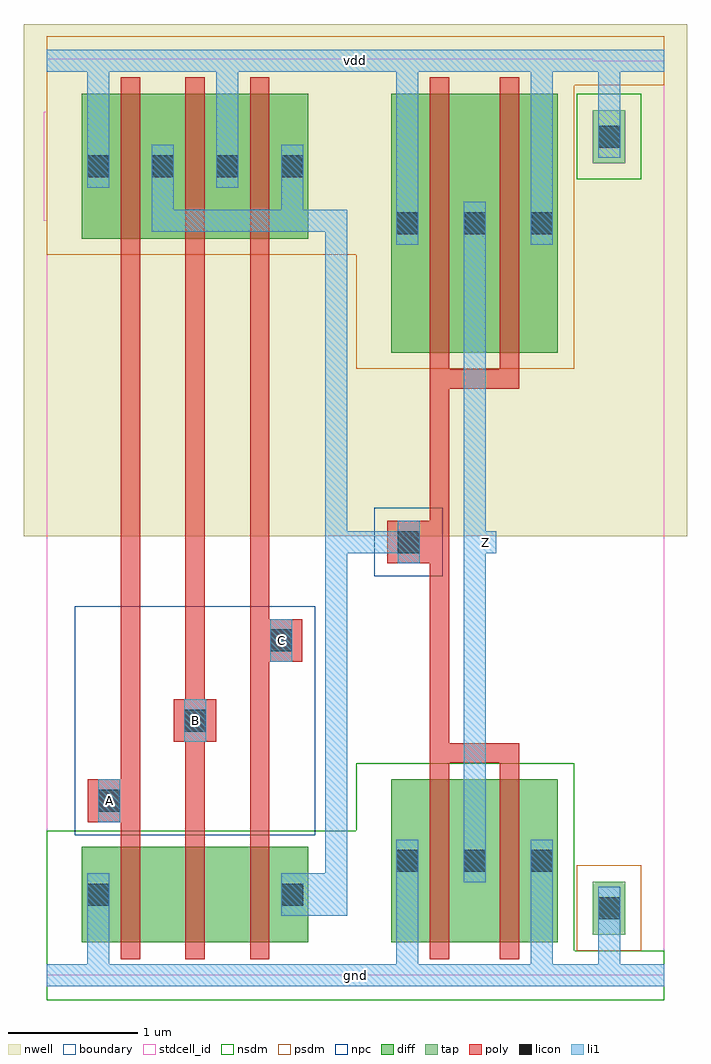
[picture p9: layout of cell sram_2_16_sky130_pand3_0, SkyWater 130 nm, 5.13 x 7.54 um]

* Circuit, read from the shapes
.subckt sram_2_16_sky130_pand3_0 A B C Z gnd vdd
XM1 sram_2_16_sky130_pnand3_0/sram_2_16_sky130_nmos_m1_w0_740_sli_dactive_3/D A gnd gnd sky130_fd_pr__nfet_01v8 w=0.74 l=0.15
XM2 sram_2_16_sky130_pnand3_0/sram_2_16_sky130_nmos_m1_w0_740_sactive_dactive_4/D B sram_2_16_sky130_pnand3_0/sram_2_16_sky130_nmos_m1_w0_740_sli_dactive_3/D gnd sky130_fd_pr__nfet_01v8 w=0.74 l=0.15
XM3 sram_2_16_sky130_pdriver_3_1/A C sram_2_16_sky130_pnand3_0/sram_2_16_sky130_nmos_m1_w0_740_sactive_dactive_4/D gnd sky130_fd_pr__nfet_01v8 w=0.74 l=0.15
XM4 Z sram_2_16_sky130_pdriver_3_1/A gnd gnd sky130_fd_pr__nfet_01v8 w=1.26 l=0.15 m=2
XM5 sram_2_16_sky130_pdriver_3_1/A A vdd vdd sky130_fd_pr__pfet_01v8 w=1.12 l=0.15
XM6 vdd B sram_2_16_sky130_pdriver_3_1/A vdd sky130_fd_pr__pfet_01v8 w=1.12 l=0.15
XM7 sram_2_16_sky130_pdriver_3_1/A C vdd vdd sky130_fd_pr__pfet_01v8 w=1.12 l=0.15
XM8 Z sram_2_16_sky130_pdriver_3_1/A vdd vdd sky130_fd_pr__pfet_01v8 w=2 l=0.15 m=2
.ends

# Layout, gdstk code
import gdstk
lib = gdstk.Library(unit=1e-6, precision=1e-09)
def R(c, l, rs):  # rectangles x0, y0, x1, y1
    for r in rs: c.add(gdstk.rectangle(r[:2], r[2:], *l))
def A(c, l, x, y, w, h, nx, ny, dx, dy):  # array of equal rectangles
    R(c, l, [(x+i*dx, y+j*dy, x+i*dx+w, y+j*dy+h) for i in range(nx) for j in range(ny)])
nwell = (64, 20)
diff = (65, 20)
tap = (65, 44)
poly = (66, 20)
licon = (66, 44)
li1 = (67, 20)
stdcell_id = (81, 4)
nsdm = (93, 44)
psdm = (94, 20)
npc = (95, 20)
boundary = (235, 4)

sram_2_16_sky130_contact = lib.new_cell('sram_2_16_sky130_contact_11')
R(sram_2_16_sky130_contact, nwell, [(-0.295,-0.255,0.545,0.585)])
R(sram_2_16_sky130_contact, diff, [(0,0.02,0.25,0.31)])
R(sram_2_16_sky130_contact, licon, [(0.04,0.08,0.21,0.25)])
R(sram_2_16_sky130_contact, li1, [(0.04,0,0.21,0.33)])
R(sram_2_16_sky130_contact, stdcell_id, [(-0.295,-0.255,0.545,0.585)])
R(sram_2_16_sky130_contact, psdm, [(-0.125,-0.105,0.375,0.435)])
R(sram_2_16_sky130_contact, boundary, [(-0.295,-0.255,0.545,0.585)])

sram_2_16_sky130_pmos_m1 = lib.new_cell('sram_2_16_sky130_pmos_m1_w1_120_sli_dli')
R(sram_2_16_sky130_pmos_m1, nwell, [(-0.27,-0.27,1.02,1.39)])
R(sram_2_16_sky130_pmos_m1, diff, [(0,0,0.75,1.12)])
R(sram_2_16_sky130_pmos_m1, poly, [(0.3,-0.13,0.45,1.25), (0.3,-0.13,0.45,1.25)])
R(sram_2_16_sky130_pmos_m1, li1, [(0.04,0.395,0.21,0.725), (0.54,0.395,0.71,0.725)])
R(sram_2_16_sky130_pmos_m1, stdcell_id, [(-0.27,-0.27,1.02,1.39)])
R(sram_2_16_sky130_pmos_m1, psdm, [(-0.125,-0.125,0.875,1.245)])
R(sram_2_16_sky130_pmos_m1, boundary, [(-0.27,-0.27,1.02,1.39)])
sram_2_16_sky130_pmos_m1.add(gdstk.Reference(sram_2_16_sky130_contact, (0,0.395)))
sram_2_16_sky130_pmos_m1.add(gdstk.Reference(sram_2_16_sky130_contact, (0.5,0.395)))
sram_2_16_sky130_pmos_m1.add(gdstk.Label('G', (0.375,0.56), layer=66, texttype=5))
sram_2_16_sky130_pmos_m1.add(gdstk.Label('S', (0.125,0.56), layer=67, texttype=5))
sram_2_16_sky130_pmos_m1.add(gdstk.Label('D', (0.625,0.56), layer=67, texttype=5))

c_sram_2_16_sky130_contact = lib.new_cell('sram_2_16_sky130_contact_10')
R(c_sram_2_16_sky130_contact, diff, [(0,0.02,0.25,0.31)])
R(c_sram_2_16_sky130_contact, licon, [(0.04,0.08,0.21,0.25)])
R(c_sram_2_16_sky130_contact, li1, [(0.04,0,0.21,0.33)])
R(c_sram_2_16_sky130_contact, stdcell_id, [(-0.125,-0.105,0.375,0.435)])
R(c_sram_2_16_sky130_contact, nsdm, [(-0.125,-0.105,0.375,0.435)])
R(c_sram_2_16_sky130_contact, boundary, [(-0.125,-0.105,0.375,0.435)])

sram_2_16_sky130_nmos_m1 = lib.new_cell('sram_2_16_sky130_nmos_m1_w0_740_sli_dactive')
R(sram_2_16_sky130_nmos_m1, diff, [(0,0,0.75,0.74), (0.55,0.295,0.7,0.445)])
R(sram_2_16_sky130_nmos_m1, poly, [(0.3,-0.13,0.45,0.87), (0.3,-0.13,0.45,0.87)])
R(sram_2_16_sky130_nmos_m1, li1, [(0.04,0.205,0.21,0.535)])
R(sram_2_16_sky130_nmos_m1, stdcell_id, [(-0.125,-0.13,0.875,0.87)])
R(sram_2_16_sky130_nmos_m1, nsdm, [(-0.125,-0.125,0.875,0.865)])
R(sram_2_16_sky130_nmos_m1, boundary, [(-0.125,-0.13,0.875,0.87)])
sram_2_16_sky130_nmos_m1.add(gdstk.Reference(c_sram_2_16_sky130_contact, (0,0.205)))
sram_2_16_sky130_nmos_m1.add(gdstk.Label('G', (0.375,0.37), layer=66, texttype=5))
sram_2_16_sky130_nmos_m1.add(gdstk.Label('S', (0.125,0.37), layer=67, texttype=5))
sram_2_16_sky130_nmos_m1.add(gdstk.Label('D', (0.625,0.37), layer=65, texttype=5))

c_sram_2_16_sky130_nmos_m1 = lib.new_cell('sram_2_16_sky130_nmos_m1_w0_740_sactive_dactive')
R(c_sram_2_16_sky130_nmos_m1, diff, [(0,0,0.75,0.74), (0.05,0.295,0.2,0.445), (0.55,0.295,0.7,0.445)])
R(c_sram_2_16_sky130_nmos_m1, poly, [(0.3,-0.13,0.45,0.87), (0.3,-0.13,0.45,0.87)])
R(c_sram_2_16_sky130_nmos_m1, stdcell_id, [(-0.125,-0.13,0.875,0.87)])
R(c_sram_2_16_sky130_nmos_m1, nsdm, [(-0.125,-0.125,0.875,0.865)])
R(c_sram_2_16_sky130_nmos_m1, boundary, [(-0.125,-0.13,0.875,0.87)])
c_sram_2_16_sky130_nmos_m1.add(gdstk.Label('G', (0.375,0.37), layer=66, texttype=5))
c_sram_2_16_sky130_nmos_m1.add(gdstk.Label('S', (0.125,0.37), layer=65, texttype=5))
c_sram_2_16_sky130_nmos_m1.add(gdstk.Label('D', (0.625,0.37), layer=65, texttype=5))

c_sram_2_16_sky130_nmos_m1_ = lib.new_cell('sram_2_16_sky130_nmos_m1_w0_740_sactive_dli')
R(c_sram_2_16_sky130_nmos_m1_, diff, [(0,0,0.75,0.74), (0.05,0.295,0.2,0.445)])
R(c_sram_2_16_sky130_nmos_m1_, poly, [(0.3,-0.13,0.45,0.87), (0.3,-0.13,0.45,0.87)])
R(c_sram_2_16_sky130_nmos_m1_, li1, [(0.54,0.205,0.71,0.535)])
R(c_sram_2_16_sky130_nmos_m1_, stdcell_id, [(-0.125,-0.13,0.875,0.87)])
R(c_sram_2_16_sky130_nmos_m1_, nsdm, [(-0.125,-0.125,0.875,0.865)])
R(c_sram_2_16_sky130_nmos_m1_, boundary, [(-0.125,-0.13,0.875,0.87)])
c_sram_2_16_sky130_nmos_m1_.add(gdstk.Reference(c_sram_2_16_sky130_contact, (0.5,0.205)))
c_sram_2_16_sky130_nmos_m1_.add(gdstk.Label('G', (0.375,0.37), layer=66, texttype=5))
c_sram_2_16_sky130_nmos_m1_.add(gdstk.Label('S', (0.125,0.37), layer=65, texttype=5))
c_sram_2_16_sky130_nmos_m1_.add(gdstk.Label('D', (0.625,0.37), layer=67, texttype=5))

c_sram_2_16_sky130_contact_ = lib.new_cell('sram_2_16_sky130_contact_15')
R(c_sram_2_16_sky130_contact_, poly, [(0,0,0.33,0.33)])
R(c_sram_2_16_sky130_contact_, licon, [(0.08,0.08,0.25,0.25)])
R(c_sram_2_16_sky130_contact_, li1, [(0.08,0,0.25,0.33)])
R(c_sram_2_16_sky130_contact_, stdcell_id, [(-0.1,-0.1,0.43,0.43)])
R(c_sram_2_16_sky130_contact_, npc, [(-0.1,-0.1,0.43,0.43)])
R(c_sram_2_16_sky130_contact_, boundary, [(-0.1,-0.1,0.43,0.43)])

sram_2_16_sky130_pnand3 = lib.new_cell('sram_2_16_sky130_pnand3')
R(sram_2_16_sky130_pnand3, nwell, [(-0.18,3.395,2.57,7.355)])
A(sram_2_16_sky130_pnand3, poly, 0.57, 1.125, 0.15, 4.44, 3, 1, 0.5, 0)
R(sram_2_16_sky130_pnand3, poly, [(0.48,1.185,0.57,1.515), (1.07,1.805,1.145,2.135), (1.57,2.425,1.81,2.755)])
R(sram_2_16_sky130_pnand3, li1, [(0,-0.085,2.39,0.085), (0.31,-0.085,0.48,0.46), (1.895,0.46,2.235,0.79), (2.15,0.46,2.32,5.835), (0.395,1.185,0.565,1.515), (1.06,1.805,1.23,2.135), (1.725,2.425,1.895,2.755), (0.81,5.75,0.98,5.92), (0.895,5.75,2.235,5.92), (1.81,5.75,1.98,5.92), (1.895,5.75,2.235,5.92), (2.15,5.75,2.32,5.92), (0.81,5.835,0.98,6.255), (1.81,5.835,1.98,6.255), (0.31,6.09,0.48,7.155), (1.31,6.09,1.48,7.155), (0,6.985,2.39,7.155)])
R(sram_2_16_sky130_pnand3, stdcell_id, [(0,0,2.39,7.07), (0,0,2.39,7.07)])
R(sram_2_16_sky130_pnand3, nsdm, [(0,-0.19,2.39,0.19), (0,0,2.39,1.12)])
R(sram_2_16_sky130_pnand3, psdm, [(0,5.57,2.39,7.07), (0,6.88,2.39,7.26)])
R(sram_2_16_sky130_pnand3, npc, [(0.215,1.085,2.075,2.855)])
R(sram_2_16_sky130_pnand3, boundary, [(0,0,2.39,7.07), (0,0,2.39,7.07)])
sram_2_16_sky130_pnand3.add(gdstk.Reference(sram_2_16_sky130_pmos_m1, (0.27,5.695)))
sram_2_16_sky130_pnand3.add(gdstk.Reference(sram_2_16_sky130_pmos_m1, (0.77,5.695)))
sram_2_16_sky130_pnand3.add(gdstk.Reference(sram_2_16_sky130_pmos_m1, (1.27,5.695)))
sram_2_16_sky130_pnand3.add(gdstk.Reference(sram_2_16_sky130_nmos_m1, (0.27,0.255)))
sram_2_16_sky130_pnand3.add(gdstk.Reference(c_sram_2_16_sky130_nmos_m1, (0.77,0.255)))
sram_2_16_sky130_pnand3.add(gdstk.Reference(c_sram_2_16_sky130_nmos_m1_, (1.27,0.255)))
sram_2_16_sky130_pnand3.add(gdstk.Reference(c_sram_2_16_sky130_contact_, (0.315,1.185)))
sram_2_16_sky130_pnand3.add(gdstk.Reference(c_sram_2_16_sky130_contact_, (0.98,1.805)))
sram_2_16_sky130_pnand3.add(gdstk.Reference(c_sram_2_16_sky130_contact_, (1.645,2.425)))
sram_2_16_sky130_pnand3.add(gdstk.Label('A', (0.48,1.35), layer=67, texttype=5))
sram_2_16_sky130_pnand3.add(gdstk.Label('B', (1.145,1.97), layer=67, texttype=5))
sram_2_16_sky130_pnand3.add(gdstk.Label('C', (1.81,2.59), layer=67, texttype=5))
sram_2_16_sky130_pnand3.add(gdstk.Label('Z', (2.235,5.835), layer=67, texttype=5))
sram_2_16_sky130_pnand3.add(gdstk.Label('gnd', (1.195,0), layer=67, texttype=5))
sram_2_16_sky130_pnand3.add(gdstk.Label('vdd', (1.195,7.07), layer=67, texttype=5))

sram_2_16_sky130_pmos_m2 = lib.new_cell('sram_2_16_sky130_pmos_m2_w2_000_sli_dli_da_p')
R(sram_2_16_sky130_pmos_m2, nwell, [(-0.27,-0.27,1.56,2.27)])
R(sram_2_16_sky130_pmos_m2, diff, [(0,0,1.29,2)])
R(sram_2_16_sky130_pmos_m2, poly, [(0.3,-0.28,0.99,-0.13), (0.3,-0.13,0.45,2.13), (0.84,-0.13,0.99,2.13)])
A(sram_2_16_sky130_pmos_m2, li1, 0.04, 0.835, 0.17, 0.33, 3, 1, 0.52, 0)
R(sram_2_16_sky130_pmos_m2, stdcell_id, [(-0.27,-0.28,1.56,2.27)])
R(sram_2_16_sky130_pmos_m2, psdm, [(-0.125,-0.125,1.415,2.125)])
R(sram_2_16_sky130_pmos_m2, boundary, [(-0.27,-0.28,1.56,2.27)])
sram_2_16_sky130_pmos_m2.add(gdstk.Reference(sram_2_16_sky130_contact, (0,0.835)))
sram_2_16_sky130_pmos_m2.add(gdstk.Reference(sram_2_16_sky130_contact, (0.52,0.835)))
sram_2_16_sky130_pmos_m2.add(gdstk.Reference(sram_2_16_sky130_contact, (1.04,0.835)))
sram_2_16_sky130_pmos_m2.add(gdstk.Label('G', (0.645,-0.205), layer=66, texttype=5))
sram_2_16_sky130_pmos_m2.add(gdstk.Label('S', (0.125,1), layer=67, texttype=5))
sram_2_16_sky130_pmos_m2.add(gdstk.Label('S', (1.165,1), layer=67, texttype=5))
sram_2_16_sky130_pmos_m2.add(gdstk.Label('D', (0.645,1), layer=67, texttype=5))

sram_2_16_sky130_nmos_m2 = lib.new_cell('sram_2_16_sky130_nmos_m2_w1_260_sli_dli_da_p')
R(sram_2_16_sky130_nmos_m2, diff, [(0,0,1.29,1.26)])
R(sram_2_16_sky130_nmos_m2, poly, [(0.3,-0.13,0.45,1.39), (0.84,-0.13,0.99,1.39), (0.3,1.39,0.99,1.54)])
A(sram_2_16_sky130_nmos_m2, li1, 0.04, 0.465, 0.17, 0.33, 3, 1, 0.52, 0)
R(sram_2_16_sky130_nmos_m2, stdcell_id, [(-0.125,-0.13,1.415,1.54)])
R(sram_2_16_sky130_nmos_m2, nsdm, [(-0.125,-0.125,1.415,1.385)])
R(sram_2_16_sky130_nmos_m2, boundary, [(-0.125,-0.13,1.415,1.54)])
sram_2_16_sky130_nmos_m2.add(gdstk.Reference(c_sram_2_16_sky130_contact, (0,0.465)))
sram_2_16_sky130_nmos_m2.add(gdstk.Reference(c_sram_2_16_sky130_contact, (0.52,0.465)))
sram_2_16_sky130_nmos_m2.add(gdstk.Reference(c_sram_2_16_sky130_contact, (1.04,0.465)))
sram_2_16_sky130_nmos_m2.add(gdstk.Label('G', (0.645,1.465), layer=66, texttype=5))
sram_2_16_sky130_nmos_m2.add(gdstk.Label('S', (0.125,0.63), layer=67, texttype=5))
sram_2_16_sky130_nmos_m2.add(gdstk.Label('S', (1.165,0.63), layer=67, texttype=5))
sram_2_16_sky130_nmos_m2.add(gdstk.Label('D', (0.645,0.63), layer=67, texttype=5))

c_sram_2_16_sky130_contact__ = lib.new_cell('sram_2_16_sky130_contact_22')
R(c_sram_2_16_sky130_contact__, nwell, [(-0.295,-0.215,0.545,0.625)])
R(c_sram_2_16_sky130_contact__, tap, [(0,0,0.25,0.41)])
R(c_sram_2_16_sky130_contact__, licon, [(0.04,0.12,0.21,0.29)])
R(c_sram_2_16_sky130_contact__, li1, [(0.04,0.04,0.21,0.37)])
R(c_sram_2_16_sky130_contact__, stdcell_id, [(-0.295,-0.215,0.545,0.625)])
R(c_sram_2_16_sky130_contact__, nsdm, [(-0.125,-0.125,0.375,0.535)])
R(c_sram_2_16_sky130_contact__, boundary, [(-0.295,-0.215,0.545,0.625)])

c_sram_2_16_sky130_contact___ = lib.new_cell('sram_2_16_sky130_contact_23')
R(c_sram_2_16_sky130_contact___, tap, [(0,0,0.25,0.41)])
R(c_sram_2_16_sky130_contact___, licon, [(0.04,0.12,0.21,0.29)])
R(c_sram_2_16_sky130_contact___, li1, [(0.04,0.04,0.21,0.37)])
R(c_sram_2_16_sky130_contact___, stdcell_id, [(-0.125,-0.125,0.375,0.535)])
R(c_sram_2_16_sky130_contact___, psdm, [(-0.125,-0.125,0.375,0.535)])
R(c_sram_2_16_sky130_contact___, boundary, [(-0.125,-0.125,0.375,0.535)])

sram_2_16_sky130_pinv_10 = lib.new_cell('sram_2_16_sky130_pinv_10')
R(sram_2_16_sky130_pinv_10, nwell, [(-0.18,3.395,2.56,7.355)])
R(sram_2_16_sky130_pinv_10, poly, [(0.57,1.795,0.72,4.535), (0.405,3.185,0.57,3.515)])
R(sram_2_16_sky130_pinv_10, li1, [(0,-0.085,2.38,0.085), (0.31,-0.085,0.48,0.72), (1.35,-0.085,1.52,0.72), (1.87,0,2.04,0.52), (0.83,0.72,1,5.98), (0.32,3.185,0.49,3.515), (0.915,3.265,1.085,3.435), (0.31,5.65,0.48,7.155), (1.35,5.65,1.52,7.155), (1.87,6.485,2.04,7.07), (0,6.985,2.38,7.155)])
R(sram_2_16_sky130_pinv_10, stdcell_id, [(0,0,2.38,7.07), (0,0,2.38,7.07)])
R(sram_2_16_sky130_pinv_10, nsdm, [(0,-0.19,2.38,0.19), (0,0,1.685,1.64)])
R(sram_2_16_sky130_pinv_10, psdm, [(0,4.69,1.685,7.07), (0,6.88,2.38,7.26)])
R(sram_2_16_sky130_pinv_10, boundary, [(0,0,2.38,7.07), (0,0,2.38,7.07)])
sram_2_16_sky130_pinv_10.add(gdstk.Reference(sram_2_16_sky130_pmos_m2, (0.27,4.815)))
sram_2_16_sky130_pinv_10.add(gdstk.Reference(sram_2_16_sky130_nmos_m2, (0.27,0.255)))
sram_2_16_sky130_pinv_10.add(gdstk.Reference(c_sram_2_16_sky130_contact__, (1.83,6.28)))
sram_2_16_sky130_pinv_10.add(gdstk.Reference(c_sram_2_16_sky130_contact___, (1.83,0.315)))
sram_2_16_sky130_pinv_10.add(gdstk.Reference(c_sram_2_16_sky130_contact_, (0.24,3.185)))
sram_2_16_sky130_pinv_10.add(gdstk.Label('A', (0.405,3.35), layer=67, texttype=5))
sram_2_16_sky130_pinv_10.add(gdstk.Label('Z', (1,3.35), layer=67, texttype=5))
sram_2_16_sky130_pinv_10.add(gdstk.Label('gnd', (1.19,0), layer=67, texttype=5))
sram_2_16_sky130_pinv_10.add(gdstk.Label('vdd', (1.19,7.07), layer=67, texttype=5))

sram_2_16_sky130_pdriver = lib.new_cell('sram_2_16_sky130_pdriver_3')
R(sram_2_16_sky130_pdriver, nwell, [(-0.18,3.395,2.56,7.355)])
R(sram_2_16_sky130_pdriver, li1, [(0,-0.085,2.38,0.085), (0.32,3.185,0.49,3.515), (0.915,3.265,1.085,3.435), (0,6.985,2.38,7.155)])
R(sram_2_16_sky130_pdriver, stdcell_id, [(0,0,2.38,7.07), (0,0,2.38,7.07)])
R(sram_2_16_sky130_pdriver, nsdm, [(0,-0.19,2.38,0.19)])
R(sram_2_16_sky130_pdriver, psdm, [(0,6.88,2.38,7.26)])
R(sram_2_16_sky130_pdriver, boundary, [(0,0,2.38,7.07), (0,0,2.38,7.07)])
sram_2_16_sky130_pdriver.add(gdstk.Reference(sram_2_16_sky130_pinv_10, (0,0)))
sram_2_16_sky130_pdriver.add(gdstk.Label('Z', (1,3.35), layer=67, texttype=5))
sram_2_16_sky130_pdriver.add(gdstk.Label('A', (0.405,3.35), layer=67, texttype=5))
sram_2_16_sky130_pdriver.add(gdstk.Label('gnd', (1.19,0), layer=67, texttype=5))
sram_2_16_sky130_pdriver.add(gdstk.Label('vdd', (1.19,7.07), layer=67, texttype=5))

sram_2_16_sky130_pand3_0 = lib.new_cell('sram_2_16_sky130_pand3_0')
R(sram_2_16_sky130_pand3_0, li1, [(0,-0.085,4.77,0.085), (0.395,1.185,0.565,1.515), (1.06,1.805,1.23,2.135), (1.725,2.425,1.895,2.755), (2.15,3.265,2.32,3.435), (2.235,3.265,2.795,3.435), (3.305,3.265,3.475,3.435), (2.15,3.35,2.32,5.835), (0,6.985,4.77,7.155)])
R(sram_2_16_sky130_pand3_0, stdcell_id, [(0,0,4.77,7.07), (0,0,4.77,7.07)])
R(sram_2_16_sky130_pand3_0, boundary, [(0,0,4.77,7.07), (0,0,4.77,7.07)])
sram_2_16_sky130_pand3_0.add(gdstk.Reference(sram_2_16_sky130_pnand3, (0,0)))
sram_2_16_sky130_pand3_0.add(gdstk.Reference(sram_2_16_sky130_pdriver, (2.39,0)))
sram_2_16_sky130_pand3_0.add(gdstk.Label('Z', (3.39,3.35), layer=67, texttype=5))
sram_2_16_sky130_pand3_0.add(gdstk.Label('A', (0.48,1.35), layer=67, texttype=5))
sram_2_16_sky130_pand3_0.add(gdstk.Label('B', (1.145,1.97), layer=67, texttype=5))
sram_2_16_sky130_pand3_0.add(gdstk.Label('C', (1.81,2.59), layer=67, texttype=5))
sram_2_16_sky130_pand3_0.add(gdstk.Label('gnd', (2.385,0), layer=67, texttype=5))
sram_2_16_sky130_pand3_0.add(gdstk.Label('vdd', (2.385,7.07), layer=67, texttype=5))

lib.write_gds('sram_2_16_sky130_pand3_0.gds')
